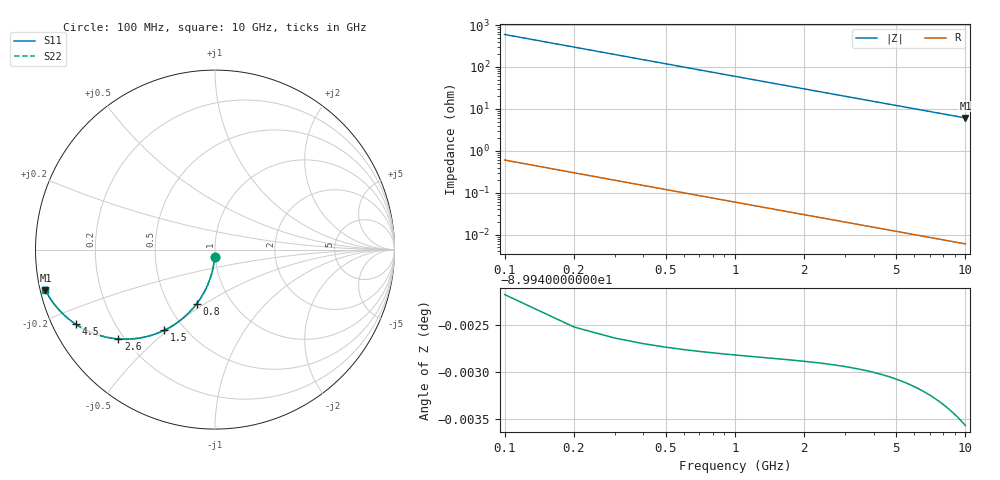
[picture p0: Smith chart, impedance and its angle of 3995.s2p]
# Hz S RI R 50.00
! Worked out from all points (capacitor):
!   100 points, 100 MHz to 10 GHz, reference 50 ohm
!   read as one part in shunt: C = 2.67 pF near 100 MHz
!   lowest |Z| = 6.1 ohm at 10 GHz (marker M1)
!   S11 on the Smith chart (normalised r, x): 100 MHz: 0.99, -0.08; 800 MHz: 0.69, -0.46; 1.5 GHz: 0.39, -0.49; 2.6 GHz: 0.18, -0.38; 4.5 GHz: 0.07, -0.25; 10 GHz: 0.01, -0.12
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1e8  -0.00179 -0.0418  0.9982 -0.0418  0.9982 -0.0418  -0.00179 -0.0418
2e8  -0.00704 -0.0831  0.993 -0.0832  0.993 -0.0832  -0.00704 -0.0831
3e8  -0.0156 -0.1235  0.9844 -0.1236  0.9844 -0.1236  -0.0156 -0.1235
4e8  -0.0274 -0.1627  0.9726 -0.1628  0.9726 -0.1628  -0.0274 -0.1627
5e8  -0.0421 -0.2002  0.9579 -0.2004  0.9579 -0.2004  -0.0421 -0.2002
6e8  -0.0594 -0.2359  0.9405 -0.2361  0.9405 -0.2361  -0.0594 -0.2359
8e8  -0.1008 -0.3004  0.8992 -0.3007  0.8992 -0.3007  -0.1008 -0.3004
9e8  -0.1242 -0.3291  0.8758 -0.3294  0.8758 -0.3294  -0.1242 -0.3291
1.1e9  -0.1745 -0.3788  0.8255 -0.3792  0.8255 -0.3792  -0.1745 -0.3788
1.3e9  -0.2277 -0.4186  0.7723 -0.4191  0.7723 -0.4191  -0.2277 -0.4186
1.5e9  -0.2815 -0.449  0.7185 -0.4495  0.7185 -0.4495  -0.2815 -0.449
1.8e9  -0.3602 -0.4792  0.6398 -0.4799  0.6398 -0.4799  -0.3602 -0.4792
2.2e9  -0.4561 -0.4972  0.5439 -0.498  0.5439 -0.498  -0.4561 -0.4972
2.6e9  -0.5388 -0.4975  0.4612 -0.4985  0.4612 -0.4985  -0.5388 -0.4975
3e9  -0.6082 -0.4871  0.3918 -0.4882  0.3918 -0.4882  -0.6082 -0.4871
3.4e9  -0.6655 -0.4707  0.3345 -0.4719  0.3345 -0.4719  -0.6655 -0.4707
3.9e9  -0.7232 -0.4462  0.2768 -0.4477  0.2768 -0.4477  -0.7232 -0.4462
4.5e9  -0.7763 -0.4154  0.2237 -0.4171  0.2237 -0.4171  -0.7763 -0.4154
5.1e9  -0.8165 -0.3856  0.1835 -0.3875  0.1835 -0.3875  -0.8165 -0.3856
6.7e9  -0.8844 -0.318  0.1156 -0.3205  0.1156 -0.3205  -0.8844 -0.318
8.4e9  -0.9231 -0.2644  0.0769 -0.2675  0.0769 -0.2675  -0.9231 -0.2644
1e10  -0.9444 -0.2267  0.0556 -0.2305  0.0556 -0.2305  -0.9444 -0.2267
